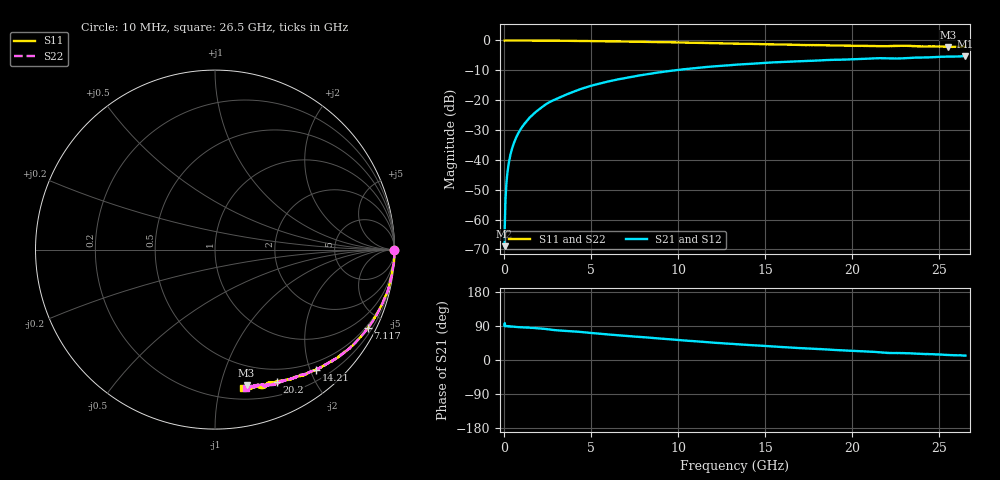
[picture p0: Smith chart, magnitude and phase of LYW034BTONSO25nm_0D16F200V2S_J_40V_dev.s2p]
!Keysight Technologies,N5222B,MY61253708,A.15.00.15
!Date: Wednesday, June 19, 2024 09:00:21
!Correction: S11(C  2-Port  )
!S21(C  2-Port  )
!S12(C  2-Port  )
!S22(C  2-Port  )
!S2P File: Measurements: S11, S21, S12, S22:
# Hz S  RI  R 50
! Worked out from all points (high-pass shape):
!   2651 points, 10 MHz to 26.5 GHz, reference 50 ohm
!   highest |S21| = -5.25 dB at 26.5 GHz (marker M1); lowest = -68.9 dB at 10 MHz (marker M2)
!   |S21| within 3 dB of the highest: 12.99364 GHz to 13.02152 GHz (27.87 MHz wide, 0.214 % of centre); 13.05 GHz to end of sweep
!   lowest |S11| = -2.2 dB at 25.5 GHz (marker M3), VSWR 7.98, Z = 15.8 - j60.5 ohm
!   |S11| at or under -10 dB: nowhere
!   |S22| runs from -2.1 to 0.0 dB; largest |S21 - S12| = 0.0075
!   S11 on the Smith chart (normalised r, x): 10 MHz: open; 7.117 GHz: 0.40, -4.10; 14.21 GHz: 0.37, -2.10; 20.2 GHz: 0.35, -1.52; 26.5 GHz: 0.29, -1.18
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1e7  0.9986 -0.00209  -4.75e-06 0.000358  0.000189 0.000306  0.9987 -0.000928
6.997736e7  1 -0.00526  1.83e-05 0.00244  2.55e-05 0.00249  0.9996 -0.00488
1.599434e8  0.9998 -0.0119  8.08e-05 0.00566  5.47e-05 0.00568  0.9995 -0.0111
2.099245e8  0.9997 -0.015  0.00011 0.0074  0.000116 0.00749  0.9994 -0.0143
2.699019e8  0.9996 -0.0193  0.00022 0.00953  0.000181 0.00961  0.9998 -0.0185
3.798604e8  0.9993 -0.0275  0.000373 0.0134  0.000391 0.0135  0.9992 -0.0264
5.098113e8  0.999 -0.0357  0.00066 0.018  0.00064 0.0181  0.9991 -0.0349
8.596792e8  0.9977 -0.06  0.0018 0.0301  0.00184 0.0303  0.9973 -0.0594
1.479445e9  0.9894 -0.1041  0.00455 0.052  0.00456 0.0522  0.9923 -0.1
2.349117e9  0.9795 -0.1596  0.0117 0.0831  0.0119 0.0836  0.981 -0.1594
3.208792e9  0.9663 -0.2165  0.0239 0.11  0.0241 0.1107  0.9668 -0.2149
4.428332e9  0.9361 -0.2915  0.0433 0.1491  0.0436 0.15  0.9382 -0.2879
7.117317e9  0.8509 -0.4375  0.1085 0.2143  0.1098 0.2151  0.8536 -0.4351
8.846664e9  0.7848 -0.5145  0.1584 0.2438  0.1597 0.2446  0.7876 -0.5118
1.3255e10  0.6014 -0.6484  0.2906 0.2619  0.2926 0.262  0.6067 -0.6464
1.421464e10  0.5638 -0.6697  0.3156 0.2578  0.3174 0.2578  0.5699 -0.6635
1.767333e10  0.4259 -0.7192  0.3963 0.2272  0.3995 0.2261  0.4391 -0.7169
2.020238e10  0.3448 -0.7362  0.4443 0.1985  0.4462 0.1956  0.3609 -0.736
2.209166e10  0.2926 -0.7448  0.4758 0.1603  0.4773 0.1584  0.289 -0.752
2.308129e10  0.2635 -0.7724  0.4804 0.1558  0.4811 0.1559  0.2661 -0.7542
2.550038e10  0.176 -0.757  0.5218 0.1209  0.5232 0.1221  0.1984 -0.7627
2.65e10  0.158 -0.7715  0.5351 0.11  0.5342 0.1073  0.1724 -0.7719
